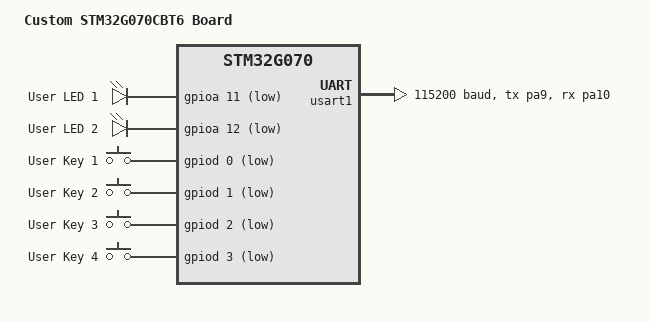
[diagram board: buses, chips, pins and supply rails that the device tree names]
/dts-v1/;
#include <st/g0/stm32g070Xb.dtsi>
#include <st/g0/stm32g070cbtx-pinctrl.dtsi>
#include <zephyr/dt-bindings/gpio/gpio.h>

/ {
	model = "Custom STM32G070CBT6 Board";
	compatible = "custom,g070cb", "st,stm32g070";

	chosen {
		zephyr,console = &usart1;
		zephyr,shell-uart = &usart1;
		zephyr,sram = &sram0;
		zephyr,flash = &flash0;
	};

	leds {
		compatible = "gpio-leds";
		led1: led_1 {
			gpios = <&gpioa 11 GPIO_ACTIVE_LOW>;
			label = "User LED 1";
		};
		led2: led_2 {
			gpios = <&gpioa 12 GPIO_ACTIVE_LOW>;
			label = "User LED 2";
		};
	};

	keys {
		compatible = "gpio-keys";
		key1: key_1 {
			gpios = <&gpiod 0 (GPIO_ACTIVE_LOW | GPIO_PULL_UP)>;
			label = "User Key 1";
		};
		key2: key_2 {
			gpios = <&gpiod 1 (GPIO_ACTIVE_LOW | GPIO_PULL_UP)>;
			label = "User Key 2";
		};
		key3: key_3 {
			gpios = <&gpiod 2 (GPIO_ACTIVE_LOW | GPIO_PULL_UP)>;
			label = "User Key 3";
		};
		key4: key_4 {
			gpios = <&gpiod 3 (GPIO_ACTIVE_LOW | GPIO_PULL_UP)>;
			label = "User Key 4";
		};
	};

	aliases {
		led0 = &led1;
		led1 = &led2;
		sw0 = &key1;
		sw1 = &key2;
		sw2 = &key3;
		sw3 = &key4;
	};
};

&clk_hsi {
	status = "okay";
};

&pll {
	div-m = <1>;
	mul-n = <8>;
	div-r = <2>;
	clocks = <&clk_hsi>;
	status = "okay";
};

&rcc {
	clocks = <&pll>;
	clock-frequency = <DT_FREQ_M(64)>;
	ahb-prescaler = <1>;
	apb1-prescaler = <1>;
};

&usart1 {
	pinctrl-0 = <&usart1_tx_pa9 &usart1_rx_pa10>;
	pinctrl-names = "default";
	current-speed = <115200>;
	status = "okay";
};
